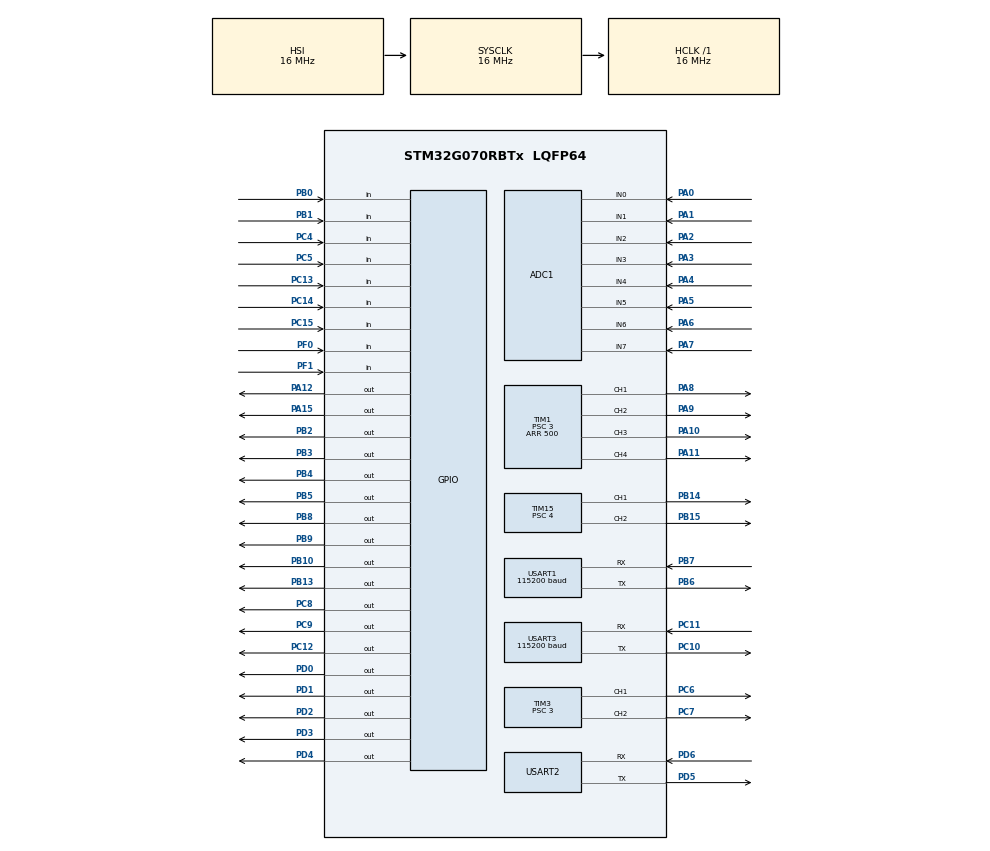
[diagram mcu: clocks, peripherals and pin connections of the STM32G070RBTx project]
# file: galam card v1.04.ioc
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ADC1.Channel-30\#ChannelRegularConversion=ADC_CHANNEL_1
ADC1.Channel-31\#ChannelRegularConversion=ADC_CHANNEL_2
ADC1.Channel-32\#ChannelRegularConversion=ADC_CHANNEL_3
ADC1.Channel-33\#ChannelRegularConversion=ADC_CHANNEL_4
ADC1.Channel-34\#ChannelRegularConversion=ADC_CHANNEL_5
ADC1.Channel-35\#ChannelRegularConversion=ADC_CHANNEL_6
ADC1.Channel-36\#ChannelRegularConversion=ADC_CHANNEL_7
ADC1.ContinuousConvMode=ENABLE
ADC1.DMAContinuousRequests=ENABLE
ADC1.NbrOfConversion=8
ADC1.NbrOfConversionFlag=1
ADC1.Rank-30\#ChannelRegularConversion=2
ADC1.Rank-31\#ChannelRegularConversion=3
ADC1.Rank-32\#ChannelRegularConversion=4
ADC1.Rank-33\#ChannelRegularConversion=5
ADC1.Rank-34\#ChannelRegularConversion=6
ADC1.Rank-35\#ChannelRegularConversion=7
ADC1.Rank-36\#ChannelRegularConversion=8
ADC1.SamplingTime-30\#ChannelRegularConversion=ADC_SAMPLINGTIME_COMMON_1
ADC1.SamplingTime-31\#ChannelRegularConversion=ADC_SAMPLINGTIME_COMMON_1
ADC1.SamplingTime-32\#ChannelRegularConversion=ADC_SAMPLINGTIME_COMMON_1
ADC1.SamplingTime-33\#ChannelRegularConversion=ADC_SAMPLINGTIME_COMMON_1
ADC1.SamplingTime-34\#ChannelRegularConversion=ADC_SAMPLINGTIME_COMMON_1
ADC1.SamplingTime-35\#ChannelRegularConversion=ADC_SAMPLINGTIME_COMMON_1
ADC1.SamplingTime-36\#ChannelRegularConversion=ADC_SAMPLINGTIME_COMMON_1
ADC1.SamplingTimeCommon1=ADC_SAMPLETIME_160CYCLES_5
ADC1.SamplingTimeCommon2=ADC_SAMPLETIME_160CYCLES_5
ADC1.master=1
Dma.ADC1.0.Direction=DMA_PERIPH_TO_MEMORY
Dma.ADC1.0.EventEnable=DISABLE
Dma.ADC1.0.Instance=DMA1_Channel1
Dma.ADC1.0.MemDataAlignment=DMA_MDATAALIGN_WORD
Dma.ADC1.0.MemInc=DMA_MINC_ENABLE
Dma.ADC1.0.Mode=DMA_CIRCULAR
Dma.ADC1.0.PeriphDataAlignment=DMA_PDATAALIGN_WORD
Dma.ADC1.0.PeriphInc=DMA_PINC_DISABLE
Dma.ADC1.0.Polarity=HAL_DMAMUX_REQ_GEN_RISING
Dma.ADC1.0.Priority=DMA_PRIORITY_LOW
Dma.ADC1.0.RequestNumber=1
Dma.ADC1.0.SignalID=NONE
Dma.ADC1.0.SyncEnable=DISABLE
Dma.ADC1.0.SyncPolarity=HAL_DMAMUX_SYNC_NO_EVENT
Dma.ADC1.0.SyncRequestNumber=1
Dma.ADC1.0.SyncSignalID=NONE
Dma.Request0=ADC1
Mcu.Family=STM32G0
Mcu.Name=STM32G070RBTx
Mcu.Package=LQFP64
NVIC.DMA1_Channel1_IRQn=true\:0\:0\:false\:false\:true\:false\:true
NVIC.USART1_IRQn=true\:0\:0\:false\:false\:true\:true\:true
NVIC.USART2_IRQn=true\:0\:0\:false\:false\:true\:true\:true
NVIC.USART3_4_IRQn=true\:0\:0\:false\:false\:true\:true\:true
PA0.Mode=IN0
PA0.Signal=ADC1_IN0
PA1.Mode=IN1
PA1.Signal=ADC1_IN1
PA10.GPIO_PuPd=GPIO_PULLUP
PA10.Signal=S_TIM1_CH3
PA11\ [PA9].GPIO_PuPd=GPIO_PULLUP
PA11\ [PA9].PinState=GPIO_PIN_SET
PA11\ [PA9].Signal=S_TIM1_CH4
PA12\ [PA10].GPIO_ModeDefaultOutputPP=GPIO_MODE_OUTPUT_PP
PA12\ [PA10].GPIO_PuPd=GPIO_PULLDOWN
PA12\ [PA10].GPIO_Speed=GPIO_SPEED_FREQ_LOW
PA12\ [PA10].PinState=GPIO_PIN_RESET
PA12\ [PA10].Signal=GPIO_Output
PA13.Mode=Serial_Wire
PA13.Signal=SYS_SWDIO
PA14-BOOT0.Mode=Serial_Wire
PA14-BOOT0.Signal=SYS_SWCLK
PA15.GPIO_ModeDefaultOutputPP=GPIO_MODE_OUTPUT_PP
PA15.GPIO_PuPd=GPIO_PULLDOWN
PA15.GPIO_Speed=GPIO_SPEED_FREQ_LOW
PA15.PinState=GPIO_PIN_RESET
PA15.Signal=GPIO_Output
PA2.Mode=IN2
PA2.Signal=ADC1_IN2
PA3.Mode=IN3
PA3.Signal=ADC1_IN3
PA4.Mode=IN4
PA4.Signal=ADC1_IN4
PA5.Mode=IN5
PA5.Signal=ADC1_IN5
PA6.Mode=IN6
PA6.Signal=ADC1_IN6
PA7.Mode=IN7
PA7.Signal=ADC1_IN7
PA8.GPIO_PuPd=GPIO_PULLUP
PA8.PinState=GPIO_PIN_SET
PA8.Signal=S_TIM1_CH1
PA9.GPIO_PuPd=GPIO_PULLUP
PA9.Signal=S_TIM1_CH2
PB0.Signal=GPIO_Input
PB1.Signal=GPIO_Input
PB10.GPIO_ModeDefaultOutputPP=GPIO_MODE_OUTPUT_PP
PB10.GPIO_PuPd=GPIO_NOPULL
PB10.GPIO_Speed=GPIO_SPEED_FREQ_LOW
PB10.PinState=GPIO_PIN_RESET
PB10.Signal=GPIO_Output
PB13.GPIO_ModeDefaultOutputPP=GPIO_MODE_OUTPUT_PP
PB13.GPIO_PuPd=GPIO_PULLDOWN
PB13.GPIO_Speed=GPIO_SPEED_FREQ_LOW
PB13.PinState=GPIO_PIN_RESET
PB13.Signal=GPIO_Output
PB14.GPIO_PuPd=GPIO_PULLUP
PB14.PinState=GPIO_PIN_SET
PB14.Signal=S_TIM15_CH1
PB15.GPIO_PuPd=GPIO_PULLUP
PB15.PinState=GPIO_PIN_SET
PB15.Signal=S_TIM15_CH2
PB2.Signal=GPIO_Output
PB3.GPIO_ModeDefaultOutputPP=GPIO_MODE_OUTPUT_PP
PB3.GPIO_PuPd=GPIO_PULLDOWN
PB3.GPIO_Speed=GPIO_SPEED_FREQ_LOW
PB3.PinState=GPIO_PIN_RESET
PB3.Signal=GPIO_Output
PB4.GPIO_ModeDefaultOutputPP=GPIO_MODE_OUTPUT_PP
PB4.GPIO_PuPd=GPIO_PULLDOWN
PB4.GPIO_Speed=GPIO_SPEED_FREQ_LOW
PB4.PinState=GPIO_PIN_RESET
PB4.Signal=GPIO_Output
PB5.GPIO_ModeDefaultOutputPP=GPIO_MODE_OUTPUT_PP
PB5.GPIO_PuPd=GPIO_PULLDOWN
PB5.GPIO_Speed=GPIO_SPEED_FREQ_LOW
PB5.PinState=GPIO_PIN_RESET
PB5.Signal=GPIO_Output
PB6.Mode=Asynchronous
PB6.Signal=USART1_TX
PB7.Mode=Asynchronous
PB7.Signal=USART1_RX
PB8.GPIO_FM8=__NULL
PB8.GPIO_ModeDefaultOutputPP=GPIO_MODE_OUTPUT_PP
PB8.GPIO_PuPd=GPIO_PULLDOWN
PB8.GPIO_Speed=GPIO_SPEED_FREQ_LOW
PB8.PinState=GPIO_PIN_RESET
PB8.Signal=GPIO_Output
PB9.GPIO_FM9=__NULL
PB9.GPIO_ModeDefaultOutputPP=GPIO_MODE_OUTPUT_PP
PB9.GPIO_PuPd=GPIO_PULLDOWN
PB9.GPIO_Speed=GPIO_SPEED_FREQ_LOW
PB9.PinState=GPIO_PIN_RESET
PB9.Signal=GPIO_Output
PC10.Mode=Asynchronous
PC10.Signal=USART3_TX
PC11.Mode=Asynchronous
PC11.Signal=USART3_RX
PC12.GPIO_ModeDefaultOutputPP=GPIO_MODE_OUTPUT_PP
PC12.GPIO_PuPd=GPIO_PULLDOWN
PC12.GPIO_Speed=GPIO_SPEED_FREQ_LOW
PC12.PinState=GPIO_PIN_RESET
PC12.Signal=GPIO_Output
PC13.Signal=GPIO_Input
PC14-OSC32_IN\ (PC14).Signal=GPIO_Input
PC15-OSC32_OUT\ (PC15).Signal=GPIO_Input
PC4.GPIO_Mode=GPIO_MODE_INPUT
PC4.GPIO_PuPd=GPIO_NOPULL
PC4.Signal=GPIO_Input
PC5.GPIO_Mode=GPIO_MODE_INPUT
PC5.GPIO_PuPd=GPIO_NOPULL
PC5.Signal=GPIO_Input
PC6.GPIO_PuPd=GPIO_PULLUP
PC6.PinState=GPIO_PIN_SET
PC6.Signal=S_TIM3_CH1
PC7.GPIO_PuPd=GPIO_PULLUP
PC7.PinState=GPIO_PIN_SET
PC7.Signal=S_TIM3_CH2
PC8.GPIO_ModeDefaultOutputPP=GPIO_MODE_OUTPUT_PP
PC8.GPIO_PuPd=GPIO_PULLDOWN
PC8.GPIO_Speed=GPIO_SPEED_FREQ_LOW
PC8.PinState=GPIO_PIN_RESET
PC8.Signal=GPIO_Output
PC9.GPIO_ModeDefaultOutputPP=GPIO_MODE_OUTPUT_PP
PC9.GPIO_PuPd=GPIO_PULLDOWN
PC9.GPIO_Speed=GPIO_SPEED_FREQ_LOW
PC9.PinState=GPIO_PIN_RESET
PC9.Signal=GPIO_Output
PD0.GPIO_ModeDefaultOutputPP=GPIO_MODE_OUTPUT_PP
PD0.GPIO_PuPd=GPIO_PULLDOWN
PD0.GPIO_Speed=GPIO_SPEED_FREQ_LOW
PD0.PinState=GPIO_PIN_RESET
PD0.Signal=GPIO_Output
PD1.GPIO_ModeDefaultOutputPP=GPIO_MODE_OUTPUT_PP
PD1.GPIO_PuPd=GPIO_PULLDOWN
PD1.GPIO_Speed=GPIO_SPEED_FREQ_LOW
PD1.PinState=GPIO_PIN_RESET
PD1.Signal=GPIO_Output
PD2.GPIO_ModeDefaultOutputPP=GPIO_MODE_OUTPUT_PP
PD2.GPIO_PuPd=GPIO_PULLDOWN
PD2.GPIO_Speed=GPIO_SPEED_FREQ_LOW
PD2.PinState=GPIO_PIN_RESET
PD2.Signal=GPIO_Output
PD3.GPIO_ModeDefaultOutputPP=GPIO_MODE_OUTPUT_PP
PD3.GPIO_PuPd=GPIO_PULLDOWN
PD3.GPIO_Speed=GPIO_SPEED_FREQ_LOW
PD3.PinState=GPIO_PIN_RESET
PD3.Signal=GPIO_Output
PD4.GPIO_ModeDefaultOutputPP=GPIO_MODE_OUTPUT_PP
PD4.GPIO_PuPd=GPIO_PULLDOWN
PD4.GPIO_Speed=GPIO_SPEED_FREQ_LOW
PD4.PinState=GPIO_PIN_RESET
PD4.Signal=GPIO_Output
PD5.Mode=Asynchronous
PD5.Signal=USART2_TX
PD6.Mode=Asynchronous
PD6.Signal=USART2_RX
PF0-OSC_IN\ (PF0).Signal=GPIO_Input
PF1-OSC_OUT\ (PF1).Signal=GPIO_Input
ProjectManager.HeapSize=0x200
ProjectManager.StackSize=0x400
ProjectManager.TargetToolchain=STM32CubeIDE
RCC.AHBFreq_Value=16000000
RCC.CortexFreq_Value=16000000
RCC.EXTERNAL_CLOCK_VALUE=48000
RCC.HCLKFreq_Value=16000000
RCC.HSE_VALUE=8000000
RCC.HSI_VALUE=16000000
RCC.LSE_VALUE=32768
RCC.SYSCLKFreq_VALUE=16000000
RCC.VCOOutputFreq_Value=128000000
SH.S_TIM15_CH1.0=TIM15_CH1,PWM Generation1 CH1
SH.S_TIM15_CH2.0=TIM15_CH2,PWM Generation2 CH2
SH.S_TIM1_CH1.0=TIM1_CH1,PWM Generation1 CH1
SH.S_TIM1_CH2.0=TIM1_CH2,PWM Generation2 CH2
SH.S_TIM1_CH3.0=TIM1_CH3,PWM Generation3 CH3
SH.S_TIM1_CH4.0=TIM1_CH4,PWM Generation4 CH4
SH.S_TIM3_CH1.0=TIM3_CH1,PWM Generation1 CH1
SH.S_TIM3_CH2.0=TIM3_CH2,PWM Generation2 CH2
TIM1.Channel-PWM\ Generation1\ CH1=TIM_CHANNEL_1
TIM1.Channel-PWM\ Generation2\ CH2=TIM_CHANNEL_2
TIM1.Channel-PWM\ Generation3\ CH3=TIM_CHANNEL_3
TIM1.Channel-PWM\ Generation4\ CH4=TIM_CHANNEL_4
TIM1.OCPolarity_1=TIM_OCPOLARITY_LOW
TIM1.OCPolarity_2=TIM_OCPOLARITY_LOW
TIM1.OCPolarity_3=TIM_OCPOLARITY_LOW
TIM1.OCPolarity_4=TIM_OCPOLARITY_LOW
TIM1.Period=500
TIM1.Prescaler=3
TIM15.Channel-PWM\ Generation1\ CH1=TIM_CHANNEL_1
TIM15.Channel-PWM\ Generation2\ CH2=TIM_CHANNEL_2
TIM15.OCIdleState_1=TIM_OCIDLESTATE_RESET
TIM15.OCIdleState_2=TIM_OCIDLESTATE_RESET
TIM15.OCMode_PWM-PWM\ Generation1\ CH1=TIM_OCMODE_PWM1
TIM15.OCMode_PWM-PWM\ Generation2\ CH2=TIM_OCMODE_PWM1
TIM15.OCPolarity_1=TIM_OCPOLARITY_LOW
TIM15.OCPolarity_2=TIM_OCPOLARITY_LOW
TIM15.Period=500
TIM15.Prescaler=4
TIM3.Channel-PWM\ Generation1\ CH1=TIM_CHANNEL_1
TIM3.Channel-PWM\ Generation2\ CH2=TIM_CHANNEL_2
TIM3.OCPolarity_1=TIM_OCPOLARITY_LOW
TIM3.OCPolarity_2=TIM_OCPOLARITY_LOW
TIM3.Period=500
TIM3.Prescaler=3
USART1.BaudRate=115200
USART1.DataInvertParam=ADVFEATURE_DATAINV_DISABLE
USART1.StopBits=STOPBITS_1
USART1.TxPinLevelInvertParam=ADVFEATURE_TXINV_ENABLE
USART1.VirtualMode-Asynchronous=VM_ASYNC
USART1.WordLength=WORDLENGTH_8B
USART2.TxPinLevelInvertParam=ADVFEATURE_TXINV_ENABLE
USART2.VirtualMode-Asynchronous=VM_ASYNC
USART2.WordLength=WORDLENGTH_8B
USART3.BaudRate=115200
USART3.TxPinLevelInvertParam=ADVFEATURE_TXINV_ENABLE
USART3.VirtualMode-Asynchronous=VM_ASYNC
USART3.WordLength=WORDLENGTH_8B
VP_SYS_VS_DBSignals.Mode=DisableDeadBatterySignals
board=custom

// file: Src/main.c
/* USER CODE BEGIN Header */
/**
  ******************************************************************************
  * @file           : main.c
  * @brief          : Main program body
  ******************************************************************************
  * @attention
  *
  * <h2><center>&copy; Copyright (c) 2019 STMicroelectronics.
  * All rights reserved.</center></h2>
  *
  * This software component is licensed by ST under BSD 3-Clause license,
  * the "License"; You may not use this file except in compliance with the
  * License. You may obtain a copy of the License at:
  *                        opensource.org/licenses/BSD-3-Clause
  *
  ******************************************************************************
  */
/* USER CODE END Header */

#include "main.h"
#include "motor.h"

ADC_HandleTypeDef hadc1;
DMA_HandleTypeDef hdma_adc1;

TIM_HandleTypeDef htim1;
TIM_HandleTypeDef htim3;
TIM_HandleTypeDef htim15;

UART_HandleTypeDef huart1;
UART_HandleTypeDef huart2;
UART_HandleTypeDef huart3;

/* USER CODE BEGIN PV */
#define BUFFSIZE 1
uint8_t tx1[BUFFSIZE] ;
uint8_t rx1[BUFFSIZE] ;
uint8_t tx2[BUFFSIZE] ;
uint8_t rx2[BUFFSIZE] ;
uint8_t tx3[BUFFSIZE] ;
uint8_t rx3[BUFFSIZE] ;
params gps ;
uint8_t demoStep = 100 ;
uint32_t time_start = 0 ;
uint32_t time_start_asserv = 0 ;
uint32_t gAdcValue = 0 ;
uint32_t SumAdc = 0 ;
uint32_t MoyAdc = 0 ;
uint8_t cpt = 0 ;
uint8_t channel = 0;
uint32_t adc[8], buffer[8];

/* USER CODE END PV */

void SystemClock_Config(void);
static void MX_GPIO_Init(void);
static void MX_DMA_Init(void);
static void MX_TIM3_Init(void);
static void MX_TIM1_Init(void);
static void MX_TIM15_Init(void);
static void MX_USART1_UART_Init(void);
static void MX_USART2_UART_Init(void);
static void MX_USART3_UART_Init(void);
static void MX_ADC1_Init(void);
/* USER CODE BEGIN PFP */
uint32_t getUs(void) ;
uint32_t tNbTour = 0 ;
void delayUs(uint16_t micros) ;

void initMotors(params* p) ;
void initVCaptors(params* p) ;
void initXCaptors(params* p) ;
void initUARTS(params* p) ;

void demoRun(uint32_t time_us) ;

void handle_Message(uint8_t* buf, uint8_t origin) ;

/* USER CODE END PFP */

int main(void)
{

  /* MCU Configuration--------------------------------------------------------*/

  /* Reset of all peripherals, Initializes the Flash interface and the Systick. */
  HAL_Init();

  /* Configure the system clock */
  SystemClock_Config();

  /* Initialize all configured peripherals */
  MX_GPIO_Init();
  MX_DMA_Init();
  MX_TIM3_Init();
  MX_TIM1_Init();
  MX_TIM15_Init();
  MX_USART1_UART_Init();
  MX_USART2_UART_Init();
  MX_USART3_UART_Init();
  MX_ADC1_Init();
  /* USER CODE BEGIN 2 */
  HAL_UART_Receive_IT(&huart1, rx1, BUFFSIZE ) ;
  HAL_UART_Receive_IT(&huart2, rx2, BUFFSIZE ) ;
  HAL_UART_Receive_IT(&huart3, rx3, BUFFSIZE ) ;
  initMotors(&(gps));
  initVCaptors(&(gps)) ;
  HL_initGroups(&(gps)) ;
  initXCaptors(&(gps)) ;
  initUARTS(&(gps)) ;

  /*__HAL_TIM_SET_COMPARE(&(gps.motors[0].htim), 0, ((0)*MOTPERIOD)/100);
  __HAL_TIM_SET_COMPARE(&(gps.motors[1].htim), 1, ((0)*MOTPERIOD)/100);
  __HAL_TIM_SET_COMPARE(&(gps.motors[2].htim), 2, ((0)*MOTPERIOD)/100);
  __HAL_TIM_SET_COMPARE(&(gps.motors[3].htim), 3, ((0)*MOTPERIOD)/100);
  __HAL_TIM_SET_COMPARE(&(gps.motors[4].htim), 4, ((0)*MOTPERIOD)/100);
  __HAL_TIM_SET_COMPARE(&(gps.motors[5].htim), 5, ((0)*MOTPERIOD)/100);
  __HAL_TIM_SET_COMPARE(&(gps.motors[6].htim), 6, ((0)*MOTPERIOD)/100);
  __HAL_TIM_SET_COMPARE(&(gps.motors[7].htim), 7, ((0)*MOTPERIOD)/100);*/

  /*HAL_GPIO_WritePin(GPIOA, GPIO_PIN_11, SET);
  HAL_GPIO_WritePin(GPIOA, GPIO_PIN_10, SET);
  HAL_GPIO_WritePin(GPIOA, GPIO_PIN_9, SET);
  HAL_GPIO_WritePin(GPIOA, GPIO_PIN_8, SET);
  HAL_GPIO_WritePin(GPIOC, GPIO_PIN_6, SET);
  HAL_GPIO_WritePin(GPIOC, GPIO_PIN_7, SET);
  HAL_GPIO_WritePin(GPIOB, GPIO_PIN_14, SET);
  HAL_GPIO_WritePin(GPIOB, GPIO_PIN_15, SET);*/

  for(int i=0; i<20; i++){
	  HAL_GPIO_TogglePin(GPIOB, GPIO_PIN_2);
	  HAL_Delay(50);
  }

  HAL_Delay(4000) ;

//  HORIZONTAL
//   demoStep = 200 ;

//  demoStep = 4 ;
//  demoStep = 19 ;
//  demoStep = 70 ;//GET FROM UP
//  demoStep = 31 ; // GO DOWN
//  demoStep = 24 ; // RESET VERTICAL
//  demoStep = 30 ; //GO LEFT
//  demoStep = 100 ; // STOP
//  demoStep = 28 ; //GO RIGHT
//  demoStep = 26 ; // GO UP
//  demoStep = 72 ; // GO BACKWARD
//  demoStep = 90 ; //GO FORWARD
//  demoStep = 84 ; // TEST COM
//  demoStep = 80 ; //DEMO HORI
//  demoStep = 74 ; //READY FOR TAKE OFF
//  demoStep = 100 ; // NOTHING
//  demoStep = 92 ; //GO LEFT DEMO
//demoStep = 1 ; // DEMO COMPLETE

demoStep = 130 ; //DEMO POUR ARNAUD CAZALE

  uint8_t group1[] = {4,6} ;
  addGroup(&(gps), GROUP_TYPE_MOTOR, 0, group1, 2) ;
  uint8_t group4[] = {5,7} ;
  addGroup(&(gps), GROUP_TYPE_MOTOR, 2, group4, 2) ;
  uint8_t group5[] = {0,1,2,3} ;
  addGroup(&(gps), GROUP_TYPE_CAPTOR, 4, group5, 4) ;
//  uint8_t group6[] = {0} ;
//  addGroup(&(gps), GROUP_TYPE_MOTOR, 5, group6, 1) ;
//  uint8_t group7[] = {6} ;
//  addGroup(&(gps), GROUP_TYPE_MOTOR, 6, group7, 1) ;
//  uint8_t group8[] = {7} ;
//  addGroup(&(gps), GROUP_TYPE_MOTOR, 7, group8, 1) ;
	time_start = getUs() ;
	time_start_asserv = getUs() ;

	startMeasure(&(gps.vcs[0]));
	startMeasure(&(gps.vcs[1]));
	startMeasure(&(gps.vcs[2]));
	startMeasure(&(gps.vcs[3]));
	startMeasure(&(gps.vcs[4]));
	startMeasure(&(gps.vcs[5]));
	startMeasure(&(gps.vcs[6]));
	startMeasure(&(gps.vcs[7]));

	HAL_TIM_Base_Start(&htim1)	;
	HAL_TIM_Base_Start(&htim15) ;
	HAL_TIM_Base_Start(&htim3) ;
	HAL_TIM_PWM_Start(&htim15, TIM_CHANNEL_1);
	HAL_TIM_PWM_Start(&htim1, TIM_CHANNEL_2);
	HAL_TIM_PWM_Start(&htim1, TIM_CHANNEL_1);
	HAL_TIM_PWM_Start(&htim15, TIM_CHANNEL_2);
	HAL_TIM_PWM_Start(&htim1, TIM_CHANNEL_3);
	HAL_TIM_PWM_Start(&htim1, TIM_CHANNEL_4);
	HAL_TIM_PWM_Start(&htim3, TIM_CHANNEL_1);
	HAL_TIM_PWM_Start(&htim3, TIM_CHANNEL_2);

	//HAL_ADC_Start(&hadc1);
	HAL_ADC_Start_DMA(&hadc1, buffer, 8); // start adc in DMA mode

  /* USER CODE END 2 */

  /* Infinite loop */
  /* USER CODE BEGIN WHILE */
  while (1)
  {
      uint32_t time_us = getUs() ;

      HL_update(&gps, time_us) ;
	  demoRun(time_us) ;
    /* USER CODE END WHILE */

  }
}

void SystemClock_Config(void)
{
  RCC_OscInitTypeDef RCC_OscInitStruct = {0};
  RCC_ClkInitTypeDef RCC_ClkInitStruct = {0};
  RCC_PeriphCLKInitTypeDef PeriphClkInit = {0};

  /** Configure the main internal regulator output voltage
  */
  HAL_PWREx_ControlVoltageScaling(PWR_REGULATOR_VOLTAGE_SCALE1);
  /** Initializes the CPU, AHB and APB busses clocks
  */
  RCC_OscInitStruct.OscillatorType = RCC_OSCILLATORTYPE_HSI;
  RCC_OscInitStruct.HSIState = RCC_HSI_ON;
  RCC_OscInitStruct.HSIDiv = RCC_HSI_DIV1;
  RCC_OscInitStruct.HSICalibrationValue = RCC_HSICALIBRATION_DEFAULT;
  RCC_OscInitStruct.PLL.PLLState = RCC_PLL_NONE;
  if (HAL_RCC_OscConfig(&RCC_OscInitStruct) != HAL_OK)
  {
    Error_Handler();
  }
  /** Initializes the CPU, AHB and APB busses clocks
  */
  RCC_ClkInitStruct.ClockType = RCC_CLOCKTYPE_HCLK|RCC_CLOCKTYPE_SYSCLK
                              |RCC_CLOCKTYPE_PCLK1;
  RCC_ClkInitStruct.SYSCLKSource = RCC_SYSCLKSOURCE_HSI;
  RCC_ClkInitStruct.AHBCLKDivider = RCC_SYSCLK_DIV1;
  RCC_ClkInitStruct.APB1CLKDivider = RCC_HCLK_DIV1;

  if (HAL_RCC_ClockConfig(&RCC_ClkInitStruct, FLASH_LATENCY_0) != HAL_OK)
  {
    Error_Handler();
  }
  /** Initializes the peripherals clocks
  */
  PeriphClkInit.PeriphClockSelection = RCC_PERIPHCLK_USART1|RCC_PERIPHCLK_USART2
                              |RCC_PERIPHCLK_ADC;
  PeriphClkInit.Usart1ClockSelection = RCC_USART1CLKSOURCE_PCLK1;
  PeriphClkInit.Usart2ClockSelection = RCC_USART2CLKSOURCE_PCLK1;
  PeriphClkInit.AdcClockSelection = RCC_ADCCLKSOURCE_SYSCLK;
  if (HAL_RCCEx_PeriphCLKConfig(&PeriphClkInit) != HAL_OK)
  {
    Error_Handler();
  }
}

static void MX_ADC1_Init(void)
{

  ADC_AnalogWDGConfTypeDef AnalogWDGConfig = {0};
  ADC_ChannelConfTypeDef sConfig = {0};

  /** Configure the global features of the ADC (Clock, Resolution, Data Alignment and number of conversion)
  */
  hadc1.Instance = ADC1;
  hadc1.Init.ClockPrescaler = ADC_CLOCK_SYNC_PCLK_DIV2;
  hadc1.Init.Resolution = ADC_RESOLUTION_12B;
  hadc1.Init.DataAlign = ADC_DATAALIGN_RIGHT;
  hadc1.Init.ScanConvMode = ADC_SCAN_ENABLE;
  hadc1.Init.EOCSelection = ADC_EOC_SINGLE_CONV;
  hadc1.Init.LowPowerAutoWait = DISABLE;
  hadc1.Init.LowPowerAutoPowerOff = DISABLE;
  hadc1.Init.ContinuousConvMode = ENABLE;
  hadc1.Init.NbrOfConversion = 8;
  hadc1.Init.DiscontinuousConvMode = DISABLE;
  hadc1.Init.ExternalTrigConv = ADC_SOFTWARE_START;
  hadc1.Init.ExternalTrigConvEdge = ADC_EXTERNALTRIGCONVEDGE_NONE;
  hadc1.Init.DMAContinuousRequests = ENABLE;
  hadc1.Init.Overrun = ADC_OVR_DATA_PRESERVED;
  hadc1.Init.SamplingTimeCommon1 = ADC_SAMPLETIME_160CYCLES_5;
  hadc1.Init.SamplingTimeCommon2 = ADC_SAMPLETIME_160CYCLES_5;
  hadc1.Init.OversamplingMode = DISABLE;
  hadc1.Init.TriggerFrequencyMode = ADC_TRIGGER_FREQ_HIGH;
  if (HAL_ADC_Init(&hadc1) != HAL_OK)
  {
    Error_Handler();
  }
  /** Configure Analog WatchDog 2
  */
  AnalogWDGConfig.WatchdogMode = ADC_ANALOGWATCHDOG_SINGLE_REG;
  if (HAL_ADC_AnalogWDGConfig(&hadc1, &AnalogWDGConfig) != HAL_OK)
  {
    Error_Handler();
  }
  /** Configure Regular Channel
  */
  sConfig.Channel = ADC_CHANNEL_1;
  sConfig.Rank = ADC_REGULAR_RANK_2;
  sConfig.SamplingTime = ADC_SAMPLINGTIME_COMMON_1;
  if (HAL_ADC_ConfigChannel(&hadc1, &sConfig) != HAL_OK)
  {
    Error_Handler();
  }
  /** Configure Regular Channel
  */
  sConfig.Channel = ADC_CHANNEL_2;
  sConfig.Rank = ADC_REGULAR_RANK_3;
  if (HAL_ADC_ConfigChannel(&hadc1, &sConfig) != HAL_OK)
  {
    Error_Handler();
  }
  /** Configure Regular Channel
  */
  sConfig.Channel = ADC_CHANNEL_3;
  sConfig.Rank = ADC_REGULAR_RANK_4;
  if (HAL_ADC_ConfigChannel(&hadc1, &sConfig) != HAL_OK)
  {
    Error_Handler();
  }
  /** Configure Regular Channel
  */
  sConfig.Channel = ADC_CHANNEL_4;
  sConfig.Rank = ADC_REGULAR_RANK_5;
  if (HAL_ADC_ConfigChannel(&hadc1, &sConfig) != HAL_OK)
  {
    Error_Handler();
  }
  /** Configure Regular Channel
  */
  sConfig.Channel = ADC_CHANNEL_5;
  sConfig.Rank = ADC_REGULAR_RANK_6;
  if (HAL_ADC_ConfigChannel(&hadc1, &sConfig) != HAL_OK)
  {
    Error_Handler();
  }
  /** Configure Regular Channel
  */
  sConfig.Channel = ADC_CHANNEL_6;
  sConfig.Rank = ADC_REGULAR_RANK_7;
  if (HAL_ADC_ConfigChannel(&hadc1, &sConfig) != HAL_OK)
  {
    Error_Handler();
  }
  /** Configure Regular Channel
  */
  sConfig.Channel = ADC_CHANNEL_7;
  sConfig.Rank = ADC_REGULAR_RANK_8;
  if (HAL_ADC_ConfigChannel(&hadc1, &sConfig) != HAL_OK)
  {
    Error_Handler();
  }
  /* USER CODE BEGIN ADC1_Init 2 */
  /*ADC_ChannelConfTypeDef adcChannel;
  adcChannel.Channel = ADC_CHANNEL_0;
  adcChannel.Rank = 2;

  if (HAL_ADC_ConfigChannel(&hadc1, &adcChannel) != HAL_OK)
  {
    Error_Handler();
  }*/
  /* USER CODE END ADC1_Init 2 */

}

static void MX_TIM1_Init(void)
{

  TIM_MasterConfigTypeDef sMasterConfig = {0};
  TIM_OC_InitTypeDef sConfigOC = {0};
  TIM_BreakDeadTimeConfigTypeDef sBreakDeadTimeConfig = {0};

  htim1.Instance = TIM1;
  htim1.Init.Prescaler = 3;
  htim1.Init.CounterMode = TIM_COUNTERMODE_UP;
  htim1.Init.Period = 500;
  htim1.Init.ClockDivision = TIM_CLOCKDIVISION_DIV1;
  htim1.Init.RepetitionCounter = 0;
  htim1.Init.AutoReloadPreload = TIM_AUTORELOAD_PRELOAD_DISABLE;
  if (HAL_TIM_PWM_Init(&htim1) != HAL_OK)
  {
    Error_Handler();
  }
  sMasterConfig.MasterOutputTrigger = TIM_TRGO_RESET;
  sMasterConfig.MasterOutputTrigger2 = TIM_TRGO2_RESET;
  sMasterConfig.MasterSlaveMode = TIM_MASTERSLAVEMODE_DISABLE;
  if (HAL_TIMEx_MasterConfigSynchronization(&htim1, &sMasterConfig) != HAL_OK)
  {
    Error_Handler();
  }
  sConfigOC.OCMode = TIM_OCMODE_PWM1;
  sConfigOC.Pulse = 0;
  sConfigOC.OCPolarity = TIM_OCPOLARITY_LOW;
  sConfigOC.OCNPolarity = TIM_OCNPOLARITY_HIGH;
  sConfigOC.OCFastMode = TIM_OCFAST_DISABLE;
  sConfigOC.OCIdleState = TIM_OCIDLESTATE_RESET;
  sConfigOC.OCNIdleState = TIM_OCNIDLESTATE_RESET;
  if (HAL_TIM_PWM_ConfigChannel(&htim1, &sConfigOC, TIM_CHANNEL_1) != HAL_OK)
  {
    Error_Handler();
  }
  if (HAL_TIM_PWM_ConfigChannel(&htim1, &sConfigOC, TIM_CHANNEL_2) != HAL_OK)
  {
    Error_Handler();
  }
  if (HAL_TIM_PWM_ConfigChannel(&htim1, &sConfigOC, TIM_CHANNEL_3) != HAL_OK)
  {
    Error_Handler();
  }
  if (HAL_TIM_PWM_ConfigChannel(&htim1, &sConfigOC, TIM_CHANNEL_4) != HAL_OK)
  {
    Error_Handler();
  }
  sBreakDeadTimeConfig.OffStateRunMode = TIM_OSSR_DISABLE;
  sBreakDeadTimeConfig.OffStateIDLEMode = TIM_OSSI_DISABLE;
  sBreakDeadTimeConfig.LockLevel = TIM_LOCKLEVEL_OFF;
  sBreakDeadTimeConfig.DeadTime = 0;
  sBreakDeadTimeConfig.BreakState = TIM_BREAK_DISABLE;
  sBreakDeadTimeConfig.BreakPolarity = TIM_BREAKPOLARITY_HIGH;
  sBreakDeadTimeConfig.BreakFilter = 0;
  sBreakDeadTimeConfig.BreakAFMode = TIM_BREAK_AFMODE_INPUT;
  sBreakDeadTimeConfig.Break2State = TIM_BREAK2_DISABLE;
  sBreakDeadTimeConfig.Break2Polarity = TIM_BREAK2POLARITY_HIGH;
  sBreakDeadTimeConfig.Break2Filter = 0;
  sBreakDeadTimeConfig.Break2AFMode = TIM_BREAK_AFMODE_INPUT;
  sBreakDeadTimeConfig.AutomaticOutput = TIM_AUTOMATICOUTPUT_DISABLE;
  if (HAL_TIMEx_ConfigBreakDeadTime(&htim1, &sBreakDeadTimeConfig) != HAL_OK)
  {
    Error_Handler();
  }
  HAL_TIM_MspPostInit(&htim1);

}

static void MX_TIM3_Init(void)
{

  TIM_MasterConfigTypeDef sMasterConfig = {0};
  TIM_OC_InitTypeDef sConfigOC = {0};

  htim3.Instance = TIM3;
  htim3.Init.Prescaler = 3;
  htim3.Init.CounterMode = TIM_COUNTERMODE_UP;
  htim3.Init.Period = 500;
  htim3.Init.ClockDivision = TIM_CLOCKDIVISION_DIV1;
  htim3.Init.AutoReloadPreload = TIM_AUTORELOAD_PRELOAD_DISABLE;
  if (HAL_TIM_PWM_Init(&htim3) != HAL_OK)
  {
    Error_Handler();
  }
  sMasterConfig.MasterOutputTrigger = TIM_TRGO_RESET;
  sMasterConfig.MasterSlaveMode = TIM_MASTERSLAVEMODE_DISABLE;
  if (HAL_TIMEx_MasterConfigSynchronization(&htim3, &sMasterConfig) != HAL_OK)
  {
    Error_Handler();
  }
  sConfigOC.OCMode = TIM_OCMODE_PWM1;
  sConfigOC.Pulse = 0;
  sConfigOC.OCPolarity = TIM_OCPOLARITY_LOW;
  sConfigOC.OCFastMode = TIM_OCFAST_DISABLE;
  if (HAL_TIM_PWM_ConfigChannel(&htim3, &sConfigOC, TIM_CHANNEL_1) != HAL_OK)
  {
    Error_Handler();
  }
  if (HAL_TIM_PWM_ConfigChannel(&htim3, &sConfigOC, TIM_CHANNEL_2) != HAL_OK)
  {
    Error_Handler();
  }
  HAL_TIM_MspPostInit(&htim3);

}

static void MX_TIM15_Init(void)
{

  TIM_MasterConfigTypeDef sMasterConfig = {0};
  TIM_OC_InitTypeDef sConfigOC = {0};
  TIM_BreakDeadTimeConfigTypeDef sBreakDeadTimeConfig = {0};

  htim15.Instance = TIM15;
  htim15.Init.Prescaler = 4;
  htim15.Init.CounterMode = TIM_COUNTERMODE_UP;
  htim15.Init.Period = 500;
  htim15.Init.ClockDivision = TIM_CLOCKDIVISION_DIV1;
  htim15.Init.RepetitionCounter = 0;
  htim15.Init.AutoReloadPreload = TIM_AUTORELOAD_PRELOAD_DISABLE;
  if (HAL_TIM_PWM_Init(&htim15) != HAL_OK)
  {
    Error_Handler();
  }
  sMasterConfig.MasterOutputTrigger = TIM_TRGO_RESET;
  sMasterConfig.MasterSlaveMode = TIM_MASTERSLAVEMODE_DISABLE;
  if (HAL_TIMEx_MasterConfigSynchronization(&htim15, &sMasterConfig) != HAL_OK)
  {
    Error_Handler();
  }
  sConfigOC.OCMode = TIM_OCMODE_PWM1;
  sConfigOC.Pulse = 0;
  sConfigOC.OCPolarity = TIM_OCPOLARITY_LOW;
  sConfigOC.OCNPolarity = TIM_OCNPOLARITY_HIGH;
  sConfigOC.OCFastMode = TIM_OCFAST_DISABLE;
  sConfigOC.OCIdleState = TIM_OCIDLESTATE_RESET;
  sConfigOC.OCNIdleState = TIM_OCNIDLESTATE_RESET;
  if (HAL_TIM_PWM_ConfigChannel(&htim15, &sConfigOC, TIM_CHANNEL_1) != HAL_OK)
  {
    Error_Handler();
  }
  if (HAL_TIM_PWM_ConfigChannel(&htim15, &sConfigOC, TIM_CHANNEL_2) != HAL_OK)
  {
    Error_Handler();
  }
  sBreakDeadTimeConfig.OffStateRunMode = TIM_OSSR_DISABLE;
  sBreakDeadTimeConfig.OffStateIDLEMode = TIM_OSSI_DISABLE;
  sBreakDeadTimeConfig.LockLevel = TIM_LOCKLEVEL_OFF;
  sBreakDeadTimeConfig.DeadTime = 0;
  sBreakDeadTimeConfig.BreakState = TIM_BREAK_DISABLE;
  sBreakDeadTimeConfig.BreakPolarity = TIM_BREAKPOLARITY_HIGH;
  sBreakDeadTimeConfig.BreakFilter = 0;
  sBreakDeadTimeConfig.AutomaticOutput = TIM_AUTOMATICOUTPUT_DISABLE;
  if (HAL_TIMEx_ConfigBreakDeadTime(&htim15, &sBreakDeadTimeConfig) != HAL_OK)
  {
    Error_Handler();
  }
  HAL_TIM_MspPostInit(&htim15);

}

static void MX_USART1_UART_Init(void)
{

  huart1.Instance = USART1;
  huart1.Init.BaudRate = 115200;
  huart1.Init.WordLength = UART_WORDLENGTH_8B;
  huart1.Init.StopBits = UART_STOPBITS_1;
  huart1.Init.Parity = UART_PARITY_NONE;
  huart1.Init.Mode = UART_MODE_TX_RX;
  huart1.Init.HwFlowCtl = UART_HWCONTROL_NONE;
  huart1.Init.OverSampling = UART_OVERSAMPLING_16;
  huart1.Init.OneBitSampling = UART_ONE_BIT_SAMPLE_DISABLE;
  huart1.Init.ClockPrescaler = UART_PRESCALER_DIV1;
  huart1.AdvancedInit.AdvFeatureInit = UART_ADVFEATURE_TXINVERT_INIT;
  huart1.AdvancedInit.TxPinLevelInvert = UART_ADVFEATURE_TXINV_ENABLE;
  if (HAL_UART_Init(&huart1) != HAL_OK)
  {
    Error_Handler();
  }
  if (HAL_UARTEx_SetTxFifoThreshold(&huart1, UART_TXFIFO_THRESHOLD_1_8) != HAL_OK)
  {
    Error_Handler();
  }
  if (HAL_UARTEx_SetRxFifoThreshold(&huart1, UART_RXFIFO_THRESHOLD_1_8) != HAL_OK)
  {
    Error_Handler();
  }
  if (HAL_UARTEx_DisableFifoMode(&huart1) != HAL_OK)
  {
    Error_Handler();
  }

}

static void MX_USART2_UART_Init(void)
{

  huart2.Instance = USART2;
  huart2.Init.BaudRate = 115200;
  huart2.Init.WordLength = UART_WORDLENGTH_8B;
  huart2.Init.StopBits = UART_STOPBITS_1;
  huart2.Init.Parity = UART_PARITY_NONE;
  huart2.Init.Mode = UART_MODE_TX_RX;
  huart2.Init.HwFlowCtl = UART_HWCONTROL_NONE;
  huart2.Init.OverSampling = UART_OVERSAMPLING_16;
  huart2.Init.OneBitSampling = UART_ONE_BIT_SAMPLE_DISABLE;
  huart2.Init.ClockPrescaler = UART_PRESCALER_DIV1;
  huart2.AdvancedInit.AdvFeatureInit = UART_ADVFEATURE_TXINVERT_INIT;
  huart2.AdvancedInit.TxPinLevelInvert = UART_ADVFEATURE_TXINV_ENABLE;
  if (HAL_UART_Init(&huart2) != HAL_OK)
  {
    Error_Handler();
  }
  if (HAL_UARTEx_SetTxFifoThreshold(&huart2, UART_TXFIFO_THRESHOLD_1_8) != HAL_OK)
  {
    Error_Handler();
  }
  if (HAL_UARTEx_SetRxFifoThreshold(&huart2, UART_RXFIFO_THRESHOLD_1_8) != HAL_OK)
  {
    Error_Handler();
  }
  if (HAL_UARTEx_DisableFifoMode(&huart2) != HAL_OK)
  {
    Error_Handler();
  }

}

static void MX_USART3_UART_Init(void)
{

  huart3.Instance = USART3;
  huart3.Init.BaudRate = 115200;
  huart3.Init.WordLength = UART_WORDLENGTH_8B;
  huart3.Init.StopBits = UART_STOPBITS_1;
  huart3.Init.Parity = UART_PARITY_NONE;
  huart3.Init.Mode = UART_MODE_TX_RX;
  huart3.Init.HwFlowCtl = UART_HWCONTROL_NONE;
  huart3.Init.OverSampling = UART_OVERSAMPLING_16;
  huart3.Init.OneBitSampling = UART_ONE_BIT_SAMPLE_DISABLE;
  huart3.Init.ClockPrescaler = UART_PRESCALER_DIV1;
  huart3.AdvancedInit.AdvFeatureInit = UART_ADVFEATURE_TXINVERT_INIT;
  huart3.AdvancedInit.TxPinLevelInvert = UART_ADVFEATURE_TXINV_ENABLE;
  if (HAL_UART_Init(&huart3) != HAL_OK)
  {
    Error_Handler();
  }

}

static void MX_DMA_Init(void)
{

  /* DMA controller clock enable */
  __HAL_RCC_DMA1_CLK_ENABLE();

  /* DMA interrupt init */
  /* DMA1_Channel1_IRQn interrupt configuration */
  HAL_NVIC_SetPriority(DMA1_Channel1_IRQn, 0, 0);
  HAL_NVIC_EnableIRQ(DMA1_Channel1_IRQn);

}

static void MX_GPIO_Init(void)
{
  GPIO_InitTypeDef GPIO_InitStruct = {0};

  /* GPIO Ports Clock Enable */
  __HAL_RCC_GPIOC_CLK_ENABLE();
  __HAL_RCC_GPIOF_CLK_ENABLE();
  __HAL_RCC_GPIOA_CLK_ENABLE();
  __HAL_RCC_GPIOB_CLK_ENABLE();
  __HAL_RCC_GPIOD_CLK_ENABLE();

  /*Configure GPIO pin Output Level */
  HAL_GPIO_WritePin(GPIOC, GPIO_PIN_12|GPIO_PIN_8|GPIO_PIN_9, GPIO_PIN_RESET);

  /*Configure GPIO pin Output Level */
  HAL_GPIO_WritePin(GPIOB, GPIO_PIN_2|GPIO_PIN_10|GPIO_PIN_13|GPIO_PIN_3
                          |GPIO_PIN_4|GPIO_PIN_5|GPIO_PIN_8|GPIO_PIN_9, GPIO_PIN_RESET);

  /*Configure GPIO pin Output Level */
  HAL_GPIO_WritePin(GPIOA, GPIO_PIN_12|GPIO_PIN_15, GPIO_PIN_RESET);

  /*Configure GPIO pin Output Level */
  HAL_GPIO_WritePin(GPIOD, GPIO_PIN_0|GPIO_PIN_1|GPIO_PIN_2|GPIO_PIN_3
                          |GPIO_PIN_4, GPIO_PIN_RESET);

  /*Configure GPIO pins : PC12 PC8 PC9 */
  GPIO_InitStruct.Pin = GPIO_PIN_12|GPIO_PIN_8|GPIO_PIN_9;
  GPIO_InitStruct.Mode = GPIO_MODE_OUTPUT_PP;
  GPIO_InitStruct.Pull = GPIO_PULLDOWN;
  GPIO_InitStruct.Speed = GPIO_SPEED_FREQ_LOW;
  HAL_GPIO_Init(GPIOC, &GPIO_InitStruct);

  /*Configure GPIO pins : PC13 PC14 PC15 PC4
                           PC5 */
  GPIO_InitStruct.Pin = GPIO_PIN_13|GPIO_PIN_14|GPIO_PIN_15|GPIO_PIN_4
                          |GPIO_PIN_5;
  GPIO_InitStruct.Mode = GPIO_MODE_INPUT;
  GPIO_InitStruct.Pull = GPIO_NOPULL;
  HAL_GPIO_Init(GPIOC, &GPIO_InitStruct);

  /*Configure GPIO pins : PF0 PF1 */
  GPIO_InitStruct.Pin = GPIO_PIN_0|GPIO_PIN_1;
  GPIO_InitStruct.Mode = GPIO_MODE_INPUT;
  GPIO_InitStruct.Pull = GPIO_NOPULL;
  HAL_GPIO_Init(GPIOF, &GPIO_InitStruct);

  /*Configure GPIO pins : PB0 PB1 */
  GPIO_InitStruct.Pin = GPIO_PIN_0|GPIO_PIN_1;
  GPIO_InitStruct.Mode = GPIO_MODE_INPUT;
  GPIO_InitStruct.Pull = GPIO_NOPULL;
  HAL_GPIO_Init(GPIOB, &GPIO_InitStruct);

  /*Configure GPIO pins : PB2 PB10 */
  GPIO_InitStruct.Pin = GPIO_PIN_2|GPIO_PIN_10;
  GPIO_InitStruct.Mode = GPIO_MODE_OUTPUT_PP;
  GPIO_InitStruct.Pull = GPIO_NOPULL;
  GPIO_InitStruct.Speed = GPIO_SPEED_FREQ_LOW;
  HAL_GPIO_Init(GPIOB, &GPIO_InitStruct);

  /*Configure GPIO pins : PB13 PB3 PB4 PB5
                           PB8 PB9 */
  GPIO_InitStruct.Pin = GPIO_PIN_13|GPIO_PIN_3|GPIO_PIN_4|GPIO_PIN_5
                          |GPIO_PIN_8|GPIO_PIN_9;
  GPIO_InitStruct.Mode = GPIO_MODE_OUTPUT_PP;
  GPIO_InitStruct.Pull = GPIO_PULLDOWN;
  GPIO_InitStruct.Speed = GPIO_SPEED_FREQ_LOW;
  HAL_GPIO_Init(GPIOB, &GPIO_InitStruct);

  /*Configure GPIO pins : PA12 PA15 */
  GPIO_InitStruct.Pin = GPIO_PIN_12|GPIO_PIN_15;
  GPIO_InitStruct.Mode = GPIO_MODE_OUTPUT_PP;
  GPIO_InitStruct.Pull = GPIO_PULLDOWN;
  GPIO_InitStruct.Speed = GPIO_SPEED_FREQ_LOW;
  HAL_GPIO_Init(GPIOA, &GPIO_InitStruct);

  /*Configure GPIO pins : PD0 PD1 PD2 PD3
                           PD4 */
  GPIO_InitStruct.Pin = GPIO_PIN_0|GPIO_PIN_1|GPIO_PIN_2|GPIO_PIN_3
                          |GPIO_PIN_4;
  GPIO_InitStruct.Mode = GPIO_MODE_OUTPUT_PP;
  GPIO_InitStruct.Pull = GPIO_PULLDOWN;
  GPIO_InitStruct.Speed = GPIO_SPEED_FREQ_LOW;
  HAL_GPIO_Init(GPIOD, &GPIO_InitStruct);

}

/* USER CODE BEGIN 4 */

//____________________________________________INITIALISATION METHODS_______________________________________________________

void initXCaptors(params* p)
{
	ExtCaptor x1 ;
	x1.id = 0 ;
	x1.inputPinF = GPIOA ;//TODO
	x1.inputPinN = 1 ;//TODO
	standardInitExtCaptor(&x1) ;
	p->xcs[0] = x1 ;

	ExtCaptor x2 ;
	x2.id = 1 ;
	x2.inputPinF = GPIOA ;//TODO
	x2.inputPinN = 1 ;//TODO
	standardInitExtCaptor(&x2) ;
	p->xcs[1] = x2 ;
}

void initMotors(params* p){

	Motor m1 ;
	m1.id = 0 ;
	m1.pinFamTim = GPIOA ;
	m1.pinNumTim = GPIO_PIN_11 ;
	m1.htim = htim1 ;
	m1.channel = TIM_CHANNEL_4;
	m1.pinFam1 = GPIOC ;
	m1.pinNum1 = GPIO_PIN_12 ;
	m1.pinFam2 = GPIOB ;
	m1.pinNum2 = GPIO_PIN_9 ;
	p->motors[0] = m1 ;
	standardInitMotor(&(p->motors[0]));
	p->motors[0].trans.type = TYPE_VERT ;

	Motor m2 ;
	m2.id = 1 ;
	m2.pinFamTim = GPIOA ;
	m2.pinNumTim = GPIO_PIN_10 ;
	m2.htim = htim1 ;
	m2.channel = TIM_CHANNEL_3 ;
	m2.pinFam1 = GPIOB ;
	m2.pinNum1 = GPIO_PIN_8 ;
	m2.pinFam2 = GPIOB ;
	m2.pinNum2 = GPIO_PIN_5 ;
	p->motors[1] = m2 ;
	standardInitMotor(&(p->motors[1]));
	p->motors[1].trans.type = TYPE_VERT ;

	Motor m3 ;
	m3.id = 2 ;
	m3.pinFamTim = GPIOC ;
	m3.pinNumTim = GPIO_PIN_7 ;
	m3.htim = htim3 ;
	m3.channel = TIM_CHANNEL_2 ;
	m3.pinFam1 = GPIOB ;
	m3.pinNum1 = GPIO_PIN_4 ;
	m3.pinFam2 = GPIOB ;
	m3.pinNum2 = GPIO_PIN_3 ;
	p->motors[2] = m3 ;
	standardInitMotor(&(p->motors[2]));
	p->motors[2].trans.type = TYPE_VERT ;

	Motor m4 ;
	m4.id = 3 ;
	m4.pinFamTim = GPIOC ;
	m4.pinNumTim = GPIO_PIN_6 ;
	m4.htim = htim3 ;
	m4.channel = TIM_CHANNEL_1 ;
	m4.pinFam1 = GPIOD ;
	m4.pinNum1 = GPIO_PIN_4 ;
	m4.pinFam2 = GPIOD ;
	m4.pinNum2 = GPIO_PIN_3 ;
	p->motors[3] = m4 ;
	standardInitMotor(&(p->motors[3]));
	p->motors[3].trans.type = TYPE_VERT ;

	Motor m5 ;
	m5.id = 4 ;
	m5.pinFamTim = GPIOA ;
	m5.pinNumTim = GPIO_PIN_9 ;
	m5.htim = htim1 ;
	m5.channel = TIM_CHANNEL_2 ;
	m5.pinFam1 = GPIOD ;
	m5.pinNum1 = GPIO_PIN_2 ;
	m5.pinFam2 = GPIOD ;
	m5.pinNum2 = GPIO_PIN_1 ;
	p->motors[4] = m5 ;
	standardInitMotor(&(p->motors[4]));
	p->motors[4].trans.type = TYPE_HORI ;

	Motor m6 ;
	m6.id = 5 ;
	m6.pinFamTim = GPIOA ;
	m6.pinNumTim = GPIO_PIN_8 ;
	m6.htim = htim1 ;
	m6.channel = TIM_CHANNEL_1 ;
	m6.pinFam1 = GPIOD ;
	m6.pinNum1 = GPIO_PIN_0 ;
	m6.pinFam2 = GPIOC ;
	m6.pinNum2 = GPIO_PIN_9 ;
	p->motors[5] = m6 ;
	standardInitMotor(&(p->motors[5]));
	p->motors[5].trans.type = TYPE_HORI ;

	Motor m7 ;
	m7.id = 6 ;
	m7.pinFamTim = GPIOB ;
	m7.pinNumTim = GPIO_PIN_15 ;
	m7.htim = htim15 ;
	m7.channel = TIM_CHANNEL_2 ;
	m7.pinFam1 = GPIOC ;
	m7.pinNum1 = GPIO_PIN_8 ;
	m7.pinFam2 = GPIOA ;
	m7.pinNum2 = GPIO_PIN_15 ;
	p->motors[6] = m7 ;
	standardInitMotor(&(p->motors[6]));
	p->motors[6].trans.type = TYPE_HORI ;

	Motor m8 ;
	m8.id = 7 ;
	m8.pinFamTim = GPIOB ;
	m8.pinNumTim = GPIO_PIN_14 ;
	m8.htim = htim15 ;
	m8.channel = TIM_CHANNEL_1 ;
	m8.pinFam1 = GPIOA ;
	m8.pinNum1 = GPIO_PIN_12 ;
	m8.pinFam2 = GPIOB ;
	m8.pinNum2 = GPIO_PIN_13 ;
	p->motors[7] = m8 ;
	standardInitMotor(&(p->motors[7]));
	p->motors[7].trans.type = TYPE_HORI ;
}

void initVCaptors(params* p)
{
	VCaptor v1 ;
	v1.id = 0 ;
	v1.inputPinF =GPIOC ;
	v1.inputPinN = GPIO_PIN_4 ;
	v1.mot = &(p->motors[0]);
	p->vcs[0] = v1 ;
	standardInitVCaptor(&(p->vcs[0])) ;

	VCaptor v2 ;
	v2.id = 1 ;
	v2.inputPinF =GPIOC ;
	v2.inputPinN = GPIO_PIN_5 ;
	v2.mot = &(p->motors[1]) ;
	p->vcs[1] = v2 ;
	standardInitVCaptor(&(p->vcs[1])) ;

	VCaptor v3 ;
	v3.id = 2 ;
	v3.inputPinF =GPIOB ;
	v3.inputPinN = GPIO_PIN_0 ;
	v3.mot = &(p->motors[2]);
	p->vcs[2] = v3 ;
	standardInitVCaptor(&(p->vcs[2])) ;

	VCaptor v4 ;
	v4.id = 3 ;
	v4.inputPinF = GPIOB ;
	v4.inputPinN = GPIO_PIN_1 ;
	v4.mot = &(p->motors[3]) ;
	p->vcs[3] = v4 ;
	standardInitVCaptor(&(p->vcs[3])) ;

	VCaptor v5 ;
	v5.id = 0 ;
	v5.inputPinF =GPIOC ;
	v5.inputPinN = GPIO_PIN_13 ;
	v5.mot = &(p->motors[7]);
	p->vcs[4] = v5 ;
	standardInitVCaptor(&(p->vcs[4])) ;

	VCaptor v6 ;
	v6.id = 0 ;
	v6.inputPinF =GPIOC ;
	v6.inputPinN = GPIO_PIN_14 ;
	v6.mot = &(p->motors[6]);
	p->vcs[5] = v6 ;
	standardInitVCaptor(&(p->vcs[5])) ;

	VCaptor v7 ;
	v7.id = 0 ;
	v7.inputPinF =GPIOC ;
	v7.inputPinN = GPIO_PIN_15 ;
	v7.mot = &(p->motors[5]);
	p->vcs[6] = v7 ;
	standardInitVCaptor(&(p->vcs[6])) ;

	VCaptor v8 ;
	v8.id = 0 ;
	v8.inputPinF =GPIOF ;
	v8.inputPinN = GPIO_PIN_0 ;
	v8.mot = &(p->motors[4]);
	p->vcs[7] = v8 ;
	standardInitVCaptor(&(p->vcs[7])) ;
}

void initUARTS(params* p){
	p->huarts[0] = huart1 ;
	p->huarts[1] = huart2 ;
	p->huarts[2] = huart3 ;
}

//_______________________________________________________________TIME MEASUREMENT_________________________________________________

uint32_t getUs(void) {
uint32_t usTicks = HAL_RCC_GetSysClockFreq() / 1000000;
register uint32_t ms, cycle_cnt;
do {
ms = HAL_GetTick();
cycle_cnt = SysTick->VAL;
} while (ms != HAL_GetTick());
return (ms * 1000) + (usTicks * 1000 - cycle_cnt) / usTicks;
}

void delayUs(uint16_t micros) {
	uint32_t start = getUs();
	while (getUs()-start < (uint32_t) micros) {
		asm("nop");
	}
}

//_______________________________________DEMORUN_____________________________________________________

void demoRun(uint32_t time_us)
{
	if(demoStep == 1)
	{
		uint8_t power = 70 ;
		uint8_t sense = SENSE_UP ;
		MR_startBlindMotion(&(gps.gss[0]), &power, &sense, 2000000) ;
		demoStep = 2 ;
	}
	if(demoStep == 2 && gps.gss[0].MR_mode == MR_MODE_IDLE)
	{
		uint8_t power = 70 ;
		uint8_t sense = SENSE_DOWN ;
		MR_startBlindMotion(&(gps.gss[0]), &power, &sense, 2000000) ;
		demoStep = 3 ;
	}

	if(demoStep == 3 && gps.gss[0].MR_mode == MR_MODE_IDLE)
	{
		uint8_t power = 70 ;
		uint8_t sense = SENSE_UP ;
		MR_startBlindMotion(&(gps.gss[1]), &power, &sense, 2000000) ;
		demoStep = 4 ;
	}
	if(demoStep == 4 && gps.gss[1].MR_mode == MR_MODE_IDLE)
	{
		uint8_t power = 70 ;
		uint8_t sense = SENSE_DOWN ;
		MR_startBlindMotion(&(gps.gss[1]), &power, &sense, 2000000) ;
		demoStep = 5 ;
	}

	if(demoStep == 5 && gps.gss[1].MR_mode == MR_MODE_IDLE)
		{
			uint8_t power = 70 ;
			uint8_t sense = SENSE_UP ;
			MR_startBlindMotion(&(gps.gss[2]), &power, &sense, 2000000) ;
			demoStep = 6 ;
		}
	if(demoStep == 6 && gps.gss[2].MR_mode == MR_MODE_IDLE)
		{
			uint8_t power = 70 ;
			uint8_t sense = SENSE_DOWN ;
			MR_startBlindMotion(&(gps.gss[2]), &power, &sense, 2000000) ;
			demoStep = 7 ;
		}

	if(demoStep == 7 && gps.gss[2].MR_mode == MR_MODE_IDLE)
			{
				uint8_t power = 70 ;
				uint8_t sense = SENSE_UP ;
				MR_startBlindMotion(&(gps.gss[3]), &power, &sense, 2000000) ;
				demoStep = 8 ;
			}
	if(demoStep == 8 && gps.gss[3].MR_mode == MR_MODE_IDLE)
			{
				uint8_t power = 70 ;
				uint8_t sense = SENSE_DOWN ;
				MR_startBlindMotion(&(gps.gss[3]), &power, &sense, 2000000) ;
				demoStep = 9 ;
			}

	if(demoStep == 9 && gps.gss[3].MR_mode == MR_MODE_IDLE)
			{
				uint8_t power = 70 ;
				uint8_t sense = SENSE_UP ;
				MR_startBlindMotion(&(gps.gss[4]), &power, &sense, 5000000) ;
				demoStep = 10 ;
			}
	if(demoStep == 10 && gps.gss[4].MR_mode == MR_MODE_IDLE)
			{
				uint8_t power = 70 ;
				uint8_t sense = SENSE_DOWN ;
				MR_startBlindMotion(&(gps.gss[4]), &power, &sense, 5000000) ;
				demoStep = 11 ;
			}

	if(demoStep == 11 && gps.gss[4].MR_mode == MR_MODE_IDLE)
			{
				uint8_t power = 70 ;
				uint8_t sense = SENSE_UP ;
				MR_startBlindMotion(&(gps.gss[5]), &power, &sense, 5000000) ;
				demoStep = 12 ;
			}
	if(demoStep == 12 && gps.gss[5].MR_mode == MR_MODE_IDLE)
			{
				uint8_t power = 70 ;
				uint8_t sense = SENSE_DOWN ;
				MR_startBlindMotion(&(gps.gss[5]), &power, &sense, 5000000) ;
				demoStep = 13 ;
			}

	if(demoStep == 13 && gps.gss[5].MR_mode == MR_MODE_IDLE)
			{
				uint8_t power = 70 ;
				uint8_t sense = SENSE_UP ;
				MR_startBlindMotion(&(gps.gss[6]), &power, &sense, 5000000) ;
				demoStep = 14 ;
			}
	if(demoStep == 14 && gps.gss[6].MR_mode == MR_MODE_IDLE)
			{
				uint8_t power = 70 ;
				uint8_t sense = SENSE_DOWN ;
				MR_startBlindMotion(&(gps.gss[6]), &power, &sense, 5000000) ;
				demoStep = 15 ;
			}

	if(demoStep == 15 && gps.gss[6].MR_mode == MR_MODE_IDLE)
			{
				uint8_t power = 70 ;
				uint8_t sense = SENSE_UP ;
				MR_startBlindMotion(&(gps.gss[7]), &power, &sense, 5000000) ;
				demoStep = 16 ;
			}
	if(demoStep == 16 && gps.gss[7].MR_mode == MR_MODE_IDLE)
			{
				uint8_t power = 70 ;
				uint8_t sense = SENSE_DOWN ;
				MR_startBlindMotion(&(gps.gss[7]), &power, &sense, 5000000) ;
				demoStep = 17 ;
			}

	if (demoStep == 80)
	{
		MR_goHori(&(gps.gss[0]),0, SENSE_UP, 7000000, 1) ;
		demoStep = 81 ;
	}
	if (demoStep == 81 && gps.gss[0].MR_mode == MR_MODE_IDLE)
	{
		MR_goHori(&(gps.gss[0]),0,SENSE_DOWN, 7000000, 1) ;
		demoStep = 82 ;
	}
	if (demoStep == 82 && gps.gss[0].MR_mode == MR_MODE_IDLE)
	{
		MR_goHori(&(gps.gss[2]),0,SENSE_UP, 7000000, 0) ;
		demoStep = 83 ;
	}
	if (demoStep == 83 && gps.gss[2].MR_mode == MR_MODE_IDLE)
	{
		MR_goHori(&(gps.gss[2]),0, SENSE_DOWN, 7000000, 0) ;
		demoStep = 100 ;
	}

	if(demoStep == 84)
	{
		uint8_t tx7[] = {COM_A} ;
		HAL_UART_Transmit(&huart1, tx7, 1, 1000) ;
		demoStep = 100 ;
	}

	if(demoStep == 20)
	{
		HL_StartGetFromDown(&(gps.gss[4])) ;
		demoStep = 100 ;
	}

	if(demoStep == 21)
	{
		HL_StartGetFromUp(&(gps.gss[4])) ;
		demoStep = 28 ;
	}

	if(demoStep == 22 && gps.gss[2].HL_mode == HL_MODE_IDLE)
	{
		HL_StartGoUp(&(gps.gss[4])) ;
		demoStep = 100 ;
	}
	if(demoStep == 23)
	{
		HL_StartGoDown(&(gps.gss[4])) ;
		demoStep = 100 ;
	}
	if(demoStep == 24)
	{
		GS_startResetPosition(&(gps.gss[4])) ;
		demoStep = 100 ;
	}
	if(demoStep == 95)
	{
		GS_startResetPosition(&(gps.gss[4])) ;
		demoStep = 100 ;
	}
	if(demoStep == 25 && gps.gss[4].mode == MODE_IDLE)
	{
		demoStep = 22 ;
	}
	if(demoStep == 26)
	{
		GS_startResetPosition(&(gps.gss[4])) ;
		demoStep = 22 ;
	}
	if(demoStep == 27)
	{
		HL_StartGetFromLeft(&(gps.gss[2])) ;
		demoStep = 100;
	}
	if(demoStep == 28 && gps.gss[4].HL_mode == HL_MODE_IDLE && gps.gss[0].HL_mode == HL_MODE_IDLE)
	{
		HL_StartGoRight(&(gps.gss[2])) ;
		demoStep = 78 ;
	}
	if(demoStep == 29)
	{
		HL_StartGetFromRight(&(gps.gss[2])) ;
		demoStep = 100 ;
	}
	if(demoStep == 30 && gps.gss[4].HL_mode == HL_MODE_IDLE && gps.gss[0].HL_mode == HL_MODE_IDLE && gps.gss[2].HL_mode == HL_MODE_IDLE)
	{
		HL_StartGoLeft(&(gps.gss[2])) ;
		demoStep = 100 ;
	}
	if(demoStep == 31)
	{
		GS_startResetPosition(&(gps.gss[4])) ;
		demoStep = 32 ;
	}
	if(demoStep == 32 && gps.gss[4].mode == MODE_IDLE)
	{
		HL_StartGoDown(&(gps.gss[4])) ;
		demoStep = 100 ;
	}
	if(demoStep == 70)
	{
		GS_startResetPosition(&(gps.gss[4])) ;
		demoStep = 71 ;
	}
	if(demoStep == 71 && gps.gss[4].mode == MODE_IDLE)
	{
		HL_StartGetFromUp(&(gps.gss[4])) ;
		demoStep = 28 ;
	}
	if(demoStep == 72)
	{
		HL_StartGoBackward(&(gps.gss[0]));
		demoStep = 100 ;
	}
	if(demoStep == 73 && gps.gss[4].mode == MODE_IDLE)
	{
		HL_StartGetFromForward(&(gps.gss[0])) ;
		demoStep = 100 ;
	}
	if(demoStep == 74)
	{
		GS_startResetPosition(&(gps.gss[4])) ;
		demoStep = 75 ;
	}
	if(demoStep == 75 && gps.gss[4].mode == MODE_IDLE)
	{
		uint8_t ids[] = {2,3} ;
		addGroup(&gps, GROUP_TYPE_CAPTOR, 6, ids, 2) ;
		GS_startTargeting(&(gps.gss[6]), LOW_AVSPEED, gps.gss[6].vcs[0]->target_currTour + 2) ;
		demoStep = 76 ;
	}
	if(demoStep == 76 && gps.gss[6].mode == MODE_IDLE)
	{
		eraseGroup(&gps, 6) ;
		demoStep = 28 ;
	}
	if(demoStep == 77 && gps.gss[0].HL_mode == HL_MODE_IDLE)
	{
		uint8_t tx7[] = {COM_6} ;
		HAL_UART_Transmit(&huart1, tx7, 1, 1000) ;
		demoStep = 100 ;
	}
	if(demoStep == 78 && gps.gss[2].HL_mode == HL_MODE_IDLE)
	{
		uint8_t tx7[] = {COM_7} ;
		HAL_UART_Transmit(&huart3, tx7, 1, 1000) ;
		demoStep = 100 ;
	}
	if(demoStep == 90)
	{
		HL_StartGoForward(&(gps.gss[0])) ;
		demoStep = 94 ;
	}
	if(demoStep == 91)
	{
		HL_StartGetFromBackward(&(gps.gss[0])) ;
		demoStep = 100 ;
	}
	if(demoStep == 92 && gps.gss[4].mode == MODE_IDLE)
	{
		HL_StartGoLeft(&(gps.gss[2])) ;
		demoStep = 93 ;
	}
	if(demoStep == 93 && gps.gss[2].HL_mode == HL_MODE_IDLE)
	{
		uint8_t tx7[] = {COM_9} ;
		HAL_UART_Transmit(&huart1, tx7, 1, 1000) ;
		demoStep = 100 ;
	}
	if(demoStep == 94 && gps.gss[0].HL_mode == HL_MODE_IDLE)
	{
		uint8_t tx7[] = {COM_10} ;
		HAL_UART_Transmit(&huart1, tx7, 1, 1000) ;
		demoStep = 100 ;
	}

	if(demoStep == 130)
	{
		for (int i=0; i<8; i++)
		{
			uint8_t idMotor = i ; //Modifiable, id du moteur à tester, a changer de 0 à 7
			uint8_t sense = 0 ; //Modifiable, sens du moteur, à mettre à 0 ou 1
			uint16_t power = 100 ; //Modifiable, puissance du moteur, va de 0 à 100

			setMotorTSense(&(gps.motors[idMotor]), sense) ;
			setMotorTPower(&(gps.motors[idMotor]), power) ;
		}

		time_start = time_us ;
		demoStep = 131 ;
	}

	if(demoStep == 131)
	{
		if(time_us - time_start > 4000000)
		{
			/*HAL_GPIO_WritePin(GPIOA, GPIO_PIN_11, SET);
			HAL_GPIO_WritePin(GPIOA, GPIO_PIN_10, SET);
			HAL_GPIO_WritePin(GPIOA, GPIO_PIN_9, SET);
			HAL_GPIO_WritePin(GPIOA, GPIO_PIN_8, SET);
			HAL_GPIO_WritePin(GPIOC, GPIO_PIN_6, SET);
			HAL_GPIO_WritePin(GPIOC, GPIO_PIN_7, SET);
			HAL_GPIO_WritePin(GPIOB, GPIO_PIN_14, SET);
			HAL_GPIO_WritePin(GPIOB, GPIO_PIN_15, SET);*/

			for (int i=0; i<8; i++)
			{
				uint8_t idMotor = i ; //Modifiable, id du moteur à tester, a changer de 0 à 7
				uint16_t power = 0 ; //Modifiable, puissance du moteur, va de 0 à 100
				setMotorTPower(&(gps.motors[idMotor]), power) ;
			}

			demoStep = 132 ;
		}
	}

	if(demoStep == 132)
	{
		if(time_us - time_start > 6000000)
		{
			for (int i=0; i<8; i++)
			{
				uint8_t idMotor = i ; //Modifiable, id du moteur à tester, a changer de 0 à 7
				uint8_t sense = 1 ; //Modifiable, sens du moteur, à mettre à 0 ou 1
				uint16_t power = 100 ; //Modifiable, puissance du moteur, va de 0 à 100

				setMotorTSense(&(gps.motors[idMotor]), sense) ;
				setMotorTPower(&(gps.motors[idMotor]), power) ;
			}
		}

		/*if (HAL_ADC_PollForConversion(&hadc1, 1000000) == HAL_OK)
		{

			gAdcValue = HAL_ADC_GetValue(&hadc1);
			SumAdc += gAdcValue;
			cpt++;
			if(cpt==100)
			{
				MoyAdc = SumAdc/cpt;
				cpt = 0;
				SumAdc = 0;
			}
		}*/

		if (HAL_ADC_PollForConversion(&hadc1, 1000000) == HAL_OK)
		{
			channel++;

			if(channel == 1)
			{
				gAdcValue = HAL_ADC_GetValue(&hadc1);
				SumAdc += gAdcValue;
				cpt++;
				if(cpt==10)
				{
					MoyAdc = SumAdc/cpt;
					cpt = 0;
					SumAdc = 0;
				}
			}

			if (channel == 8)
			{
				channel = 0;
			}

		}

	}

	if(demoStep == 133)
	{
		uint8_t tx7[] = {'a'} ;
		HAL_UART_Transmit(&huart1, tx7, 1, 1000) ;
		demoStep = 100;
	}
}

//COM FUNCTIONS
void HAL_UART_TxCpltCallback(UART_HandleTypeDef *huart)
	{
		__NOP() ;
	}
void HAL_UART_RxCpltCallback(UART_HandleTypeDef *huart)
	{
		if(huart->Instance==USART1)
			{
				handle_Message(rx1, 1) ;

	 		    HAL_UART_Receive_IT(&huart1, rx1, BUFFSIZE) ;
			}
			if(huart->Instance==USART2)
			{
				handle_Message(rx2, 2) ;

				HAL_UART_Receive_IT(&huart2, rx2, BUFFSIZE) ;
			}
			if(huart->Instance==USART3)
			{
				handle_Message(rx3, 3) ;

				HAL_UART_Receive_IT(&huart3, rx3, BUFFSIZE) ;
			}
	}
void handle_Message(uint8_t* buf, uint8_t origin)
{
	HL_handle_message(&gps, buf) ;
	if(buf[0] == COM_1 ){
		demoStep = 20;
	}
	if(buf[0] == COM_2){
		demoStep = 21 ;
	}
	if(buf[0] == COM_3){
		demoStep = 27 ;
	}
	if(buf[0] == COM_4){
		demoStep = 29 ;
	}
	if(buf[0] == COM_5){
		demoStep = 73 ;
	}
	if(buf[0] == COM_6){
		demoStep = 30 ;
	}
	if(buf[0] == COM_7){
		demoStep = 72 ;
	}
	if(buf[0] == COM_8)
	{
		demoStep = 91 ;
	}
	if(buf[0] == COM_9)
	{
		demoStep = 90 ;
	}
	if(buf[0] == COM_10)
	{
		demoStep = 22 ;
	}

//	if(buf[0] == 'O')
//		demoStep = 19 ;
//	if(buf[0] == 39)
//		demoStep = 1 ;
//	if(buf[0] == 'N')
//		demoStep = 24 ;
//	if(buf[0] == 19)
//		demoStep = 4 ;
//	if(buf[0] == 'K')
//		demoStep = 110 ;
}

//uint64_t flash_read(uint32_t address){
//    return *((uint32_t*)address);
//}
//
//void flash_write(uint32_t address, uint64_t data){
//    HAL_FLASH_Unlock();
//    HAL_FLASH_Program(FLASH_TYPEPROGRAM_DOUBLEWORD,address,data);
//    HAL_FLASH_Lock();
//}
//
//void flash_page_erase(uint32_t page)
//{
//    HAL_FLASH_Unlock();
//    uint32_t error = 0 ;
//    FLASH_EraseInitTypeDef FLASH_EraseInitStruct =
//        {
//        .TypeErase = FLASH_TYPEERASE_PAGES,
//    	.Page = page,
//    	.NbPages = 1,
//        };
//    HAL_FLASHEx_Erase(&FLASH_EraseInitStruct,&error);
//    HAL_FLASH_Lock();
//}
//
//

/* USER CODE END 4 */

void Error_Handler(void)
{
}

/************************ (C) COPYRIGHT STMicroelectronics *****END OF FILE****/
